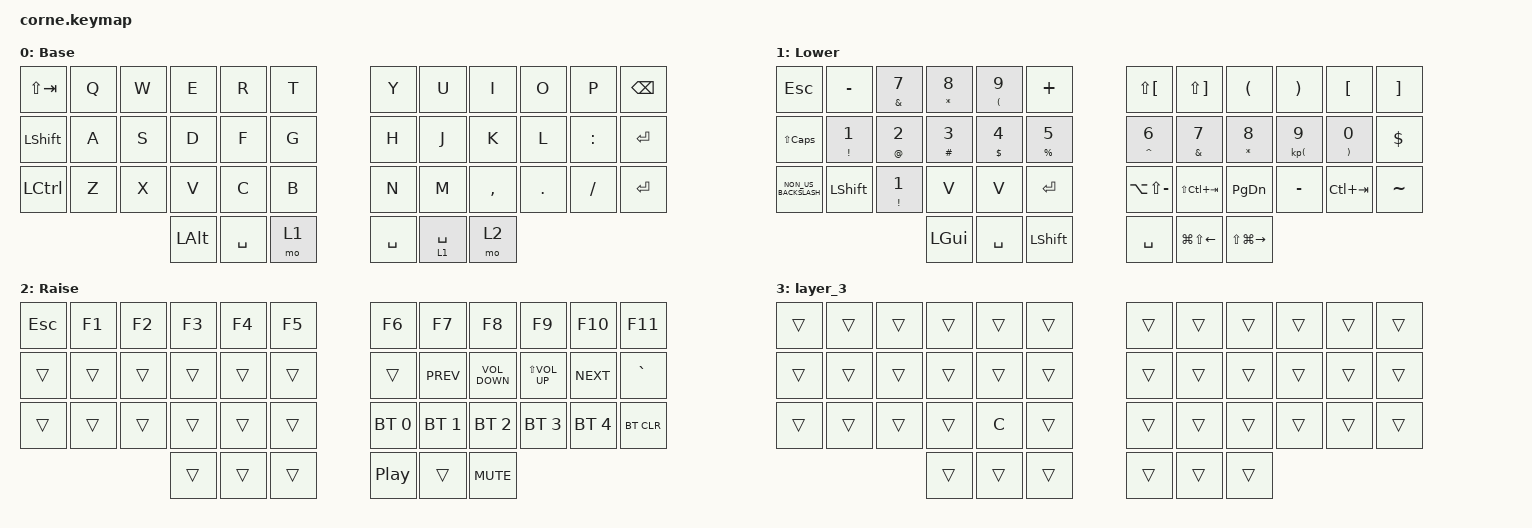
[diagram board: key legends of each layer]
/*
 * Copyright (c) 2020 The ZMK Contributors
 *
 * SPDX-License-Identifier: MIT
 */

#include <behaviors.dtsi>
#include <dt-bindings/zmk/bt.h>
#include <dt-bindings/zmk/keys.h>

/ {
    behaviors {
        HMR: HMR {
            compatible = "zmk,behavior-hold-tap";
            label = "HMR";
            bindings = <&kp>, <&kp>;

            #binding-cells = <2>;
            tapping-term-ms = <280>;
            quick-tap-ms = <175>;
            flavor = "tap-preferred";
            hold-trigger-key-positions = <0 1 2 3 4 5 12 13 14 15 16 17 24 25 26 27 28 29 36 37 38 39 40 41>;
            hold-trigger-on-release;
        };

        HML: HML {
            compatible = "zmk,behavior-hold-tap";
            label = "HML";
            bindings = <&kp>, <&kp>;

            #binding-cells = <2>;
            tapping-term-ms = <280>;
            quick-tap-ms = <175>;
            flavor = "tap-preferred";
            hold-trigger-on-release;
            hold-trigger-key-positions = <36 37 38 6 7 8 9 10 11 18 19 20 21 22 23 30 31 32 33 34 35 39 40 41>;
        };
    };

    combos {
        compatible = "zmk,combos";

        cc {
            bindings = <&kp LC(C)>;
            key-positions = <13 16>;
        };

        cv {
            bindings = <&kp LC(V)>;
            key-positions = <13 15>;
        };

        asdf {
            bindings = <&kp BACKSPACE>;
            key-positions = <19 20 21 22>;
        };

        asdfcf {
            bindings = <&kp BACKSPACE>;
            key-positions = <13 14>;
        };

        asfasfdasd {
            bindings = <&kp LC(A)>;
            key-positions = <24 14>;
        };
    };

    keymap {
        compatible = "zmk,keymap";

        default_layer {
            // -----------------------------------------------------------------------------------------
            // |  TAB |  Q  |  W  |  E  |  R  |  T  |   |  Y  |  U   |  I  |  O  |  P  | BKSP |
            // | CTRL |  A  |  S  |  D  |  F  |  G  |   |  H  |  J   |  K  |  L  |  ;  |  '   |
            // | SHFT |  Z  |  X  |  C  |  V  |  B  |   |  N  |  M   |  ,  |  .  |  /  | ESC  |
            //                    | GUI | LWR | SPC |   | ENT | RSE  | ALT |

            display-name = "Base";
            bindings = <
&kp LS(TAB)       &kp Q  &kp W  &kp E         &kp R      &kp T    &kp Y      &kp U        &kp I      &kp O    &kp P      &kp BSPC
&kp LEFT_SHIFT    &kp A  &kp S  &kp D         &kp F      &kp G    &kp H      &kp J        &kp K      &kp L    &kp COLON  &kp ENTER
&kp LEFT_CONTROL  &kp Z  &kp X  &kp V         &kp C      &kp B    &kp N      &kp M        &kp COMMA  &kp DOT  &kp FSLH   &kp ENTER
                                &kp LEFT_ALT  &kp SPACE  &mo 1    &kp SPACE  &lt 1 SPACE  &mo 2
            >;
        };

        lower_layer {
            // -----------------------------------------------------------------------------------------
            // |  TAB |  1  |  2  |  3  |  4  |  5  |   |  6  |  7  |  8  |  9  |  0  | BKSP |
            // | BTCLR| BT1 | BT2 | BT3 | BT4 | BT5 |   | LFT | DWN |  UP | RGT |     |      |
            // | SHFT |     |     |     |     |     |   |     |     |     |     |     |      |
            //                    | GUI |     | SPC |   | ENT |     | ALT |

            display-name = "Lower";
            bindings = <
&kp ESCAPE            &kp MINUS           &mt AMPERSAND N7          &mt ASTERISK N8     &mt LEFT_PARENTHESIS N9  &kp PLUS           &kp LS(LEFT_BRACKET)  &kp LS(RIGHT_BRACKET)  &kp LEFT_PARENTHESIS  &kp RIGHT_PARENTHESIS        &kp LEFT_BRACKET           &kp RIGHT_BRACKET
&kp LS(CAPS)          &HML EXCL NUMBER_1  &HML AT NUMBER_2          &HML HASH NUMBER_3  &HML DOLLAR NUMBER_4     &HML PERCENT N5    &HML CARET NUMBER_6   &HML AMPERSAND N7      &HML ASTERISK N8      &HML KP_LEFT_PARENTHESIS N9  &HML RIGHT_PARENTHESIS N0  &kp DOLLAR
&kp NON_US_BACKSLASH  &kp LEFT_SHIFT      &mt EXCLAMATION NUMBER_1  &kp V               &kp V                    &kp ENTER          &kp LA(LS(MINUS))     &kp LS(LC(TAB))        &kp PAGE_DOWN         &kp MINUS                    &kp LC(TAB)                &kp TILDE
                                                                    &kp LEFT_GUI        &kp SPACE                &kp LEFT_SHIFT     &kp SPACE             &kp LG(LS(LEFT))       &kp LS(LG(RIGHT))
            >;
        };

        raise_layer {
            // -----------------------------------------------------------------------------------------
            // |  TAB |  !  |  @  |  #  |  $  |  %  |   |  ^  |  &  |  *  |  (  |  )  | BKSP |
            // | CTRL |     |     |     |     |     |   |  -  |  =  |  [  |  ]  |  \  |  `   |
            // | SHFT |     |     |     |     |     |   |  _  |  +  |  {  |  }  | "|" |  ~   |
            //                    | GUI |     | SPC |   | ENT |     | ALT |

            display-name = "Raise";
            bindings = <
&kp ESC  &kp F1  &kp F2  &kp F3  &kp F4  &kp F5    &kp F6            &kp F7        &kp F8             &kp F9            &kp F10       &kp F11
&trans   &trans  &trans  &trans  &trans  &trans    &trans            &kp C_PREV    &kp K_VOLUME_DOWN  &kp LS(K_VOL_UP)  &kp C_NEXT    &kp GRAVE
&trans   &trans  &trans  &trans  &trans  &trans    &bt BT_SEL 0      &bt BT_SEL 1  &bt BT_SEL 2       &bt BT_SEL 3      &bt BT_SEL 4  &bt BT_CLR
                         &trans  &trans  &trans    &kp C_PLAY_PAUSE  &trans        &kp C_MUTE
            >;
        };

        layer_3 {
            bindings = <
&trans  &trans  &trans  &trans  &trans  &trans    &trans  &trans  &trans  &trans  &trans  &trans
&trans  &trans  &trans  &trans  &trans  &trans    &trans  &trans  &trans  &trans  &trans  &trans
&trans  &trans  &trans  &trans  &kp C   &trans    &trans  &trans  &trans  &trans  &trans  &trans
                        &trans  &trans  &trans    &trans  &trans  &trans
            >;
        };
    };
};
